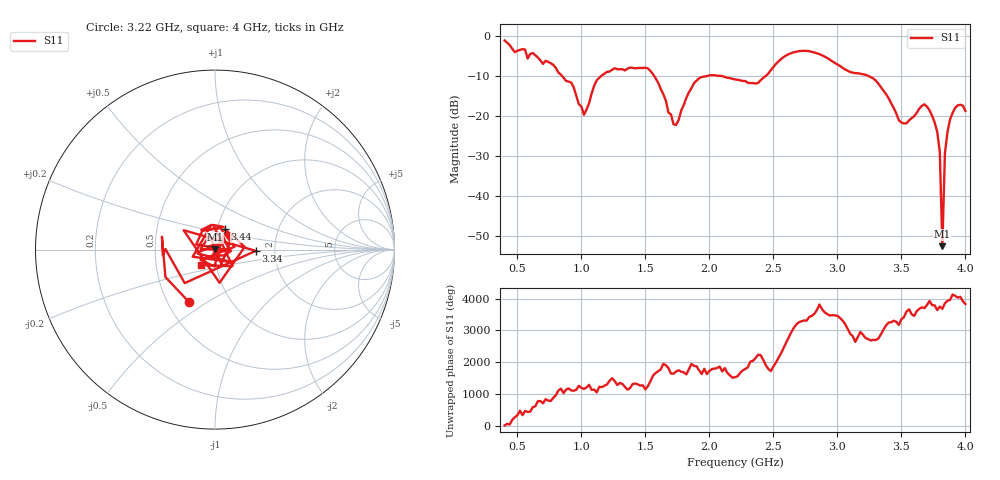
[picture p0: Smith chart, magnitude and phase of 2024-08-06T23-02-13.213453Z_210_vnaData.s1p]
!Created with skrf (http://scikit-rf.org).
# Hz S RI R 50.0
!freq ReS11 ImS11
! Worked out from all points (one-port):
!   181 points, 400 MHz to 4 GHz, reference 50 ohm
!   lowest |S11| = -52.5 dB at 3.82 GHz (marker M1), VSWR 1.00, Z = 50.1 + j0.231 ohm
!   |S11| at or under -10 dB: 1.567 GHz to 1.989 GHz (421.3 MHz wide, 23.7 % of centre); 2.06 GHz to 2.442 GHz (381.9 MHz wide, 17 % of centre); 3.239 GHz to end of sweep (the widest 3 of 4)
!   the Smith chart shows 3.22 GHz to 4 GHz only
!   S11 on the Smith chart (normalised r, x): 3.22 GHz: 0.64, -0.41; 3.34 GHz: 1.59, -0.02; 3.44 GHz: 1.09, +0.25; 4 GHz: 0.85, -0.15
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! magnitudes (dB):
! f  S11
! 400 MHz  -1.2
! 860 MHz  -10.5
! 920 MHz  -11.7
! 1.02 GHz  -19.7
! 1.12 GHz  -11.1
! 1.3 GHz  -8.4
! 1.52 GHz  -8.2
! 1.6 GHz  -11.8
! 1.72 GHz  -22.1
! 1.76 GHz  -21.0
! 1.92 GHz  -10.6
! 2.2 GHz  -10.9
! 2.38 GHz  -11.8
! 2.66 GHz  -4.1
! 3.1 GHz  -9.1
! 3.22 GHz  -9.8
! 3.34 GHz  -12.9
! 3.44 GHz  -18.0
! 3.5 GHz  -21.7
! 3.56 GHz  -21.1
! 3.68 GHz  -17.1
! 3.78 GHz  -24.0
! 3.8 GHz  -29.0
! 3.82 GHz  -52.5
! 3.84 GHz  -29.3
! 3.86 GHz  -24.1
! 3.92 GHz  -18.0
! 4 GHz  -18.8
